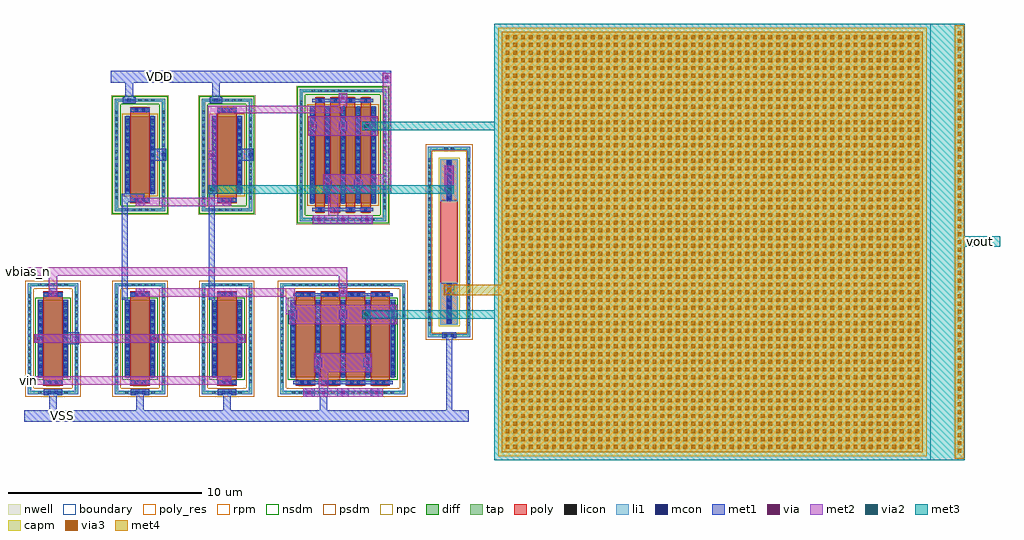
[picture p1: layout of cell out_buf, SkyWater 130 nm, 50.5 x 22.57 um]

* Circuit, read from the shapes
.subckt out_buf VDD VSS vbias_n vin vout
XM1 VSS vbias_n ob_n4_l1_0/D VSS sky130_fd_pr__nfet_01v8 w=4 l=1
XM2 ob_n4_l1_0/D vout ob_n4_l1_1/D VSS sky130_fd_pr__nfet_01v8 w=4 l=1
XM3 ob_n4_l1_0/D vin ob_n4_l1_2/D VSS sky130_fd_pr__nfet_01v8 w=4 l=1
XM4 VSS vbias_n vout VSS sky130_fd_pr__nfet_01v8 w=4 l=1 m=4
XM5 VDD ob_n4_l1_1/D ob_n4_l1_1/D VDD sky130_fd_pr__pfet_01v8 w=4 l=1
XM6 VDD ob_n4_l1_1/D ob_n4_l1_2/D VDD sky130_fd_pr__pfet_01v8 w=4 l=1
XM7 VDD ob_n4_l1_2/D vout VDD sky130_fd_pr__pfet_01v8 w=5 l=0.5 m=4
XC8 cc_1p_8/C1 vout sky130_fd_pr__cap_mim_m3_1 w=22.17 l=22.17
XR9 ob_n4_l1_2/D cc_1p_8/C1 VSS sky130_fd_pr__res_high_po w=0.9 l=4.26
.ends

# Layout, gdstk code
import gdstk
lib = gdstk.Library(unit=1e-6, precision=1e-09)
def R(c, l, rs):  # rectangles x0, y0, x1, y1
    for r in rs: c.add(gdstk.rectangle(r[:2], r[2:], *l))
def A(c, l, x, y, w, h, nx, ny, dx, dy):  # array of equal rectangles
    R(c, l, [(x+i*dx, y+j*dy, x+i*dx+w, y+j*dy+h) for i in range(nx) for j in range(ny)])
nwell = (64, 20)
diff = (65, 20)
tap = (65, 44)
poly_res = (66, 13)
poly = (66, 20)
licon = (66, 44)
li1 = (67, 20)
mcon = (67, 44)
met1 = (68, 20)
via = (68, 44)
met2 = (69, 20)
via2 = (69, 44)
met3 = (70, 20)
via3 = (70, 44)
met4 = (71, 20)
rpm = (86, 20)
capm = (89, 44)
nsdm = (93, 44)
psdm = (94, 20)
npc = (95, 20)
boundary = (235, 4)

ob_n4_l1 = lib.new_cell('ob_n4_l1')
R(ob_n4_l1, diff, [(-0.79,-2,0.79,2)])
R(ob_n4_l1, tap, [(-1.3,-2.87,1.3,-2.7), (-1.3,-2.7,-1.13,2.7), (1.13,-2.7,1.3,2.7), (-1.3,2.7,1.3,2.87)])
R(ob_n4_l1, poly, [(-0.5,-2.44,0.5,2.44)])
A(ob_n4_l1, licon, -0.765, -2.87, 0.17, 0.17, 5, 2, 0.34, 5.57)
A(ob_n4_l1, licon, -1.3, -2.295, 0.17, 0.17, 1, 14, 0, 0.34)
A(ob_n4_l1, licon, 1.13, -2.295, 0.17, 0.17, 1, 14, 0, 0.34)
A(ob_n4_l1, licon, -0.73, -1.785, 0.17, 0.17, 1, 11, 0, 0.34)
A(ob_n4_l1, licon, 0.56, -1.785, 0.17, 0.17, 1, 11, 0, 0.34)
R(ob_n4_l1, licon, [(-0.255,-2.36,-0.085,-2.19), (0.085,-2.36,0.255,-2.19), (-0.255,2.19,-0.085,2.36), (0.085,2.19,0.255,2.36)])
R(ob_n4_l1, li1, [(-1.3,-2.87,1.3,-2.7), (-1.3,-2.7,-1.13,2.7), (1.13,-2.7,1.3,2.7), (-0.5,-2.36,0.5,-2.19), (-0.73,-2.02,-0.56,2.02), (0.56,-2.02,0.73,2.02), (-0.5,2.19,0.5,2.36), (-1.3,2.7,1.3,2.87)])
A(ob_n4_l1, mcon, -0.73, -1.885, 0.17, 0.17, 1, 11, 0, 0.36)
A(ob_n4_l1, mcon, 0.56, -1.885, 0.17, 0.17, 1, 11, 0, 0.36)
R(ob_n4_l1, mcon, [(-0.265,-2.36,-0.095,-2.19), (0.095,-2.36,0.265,-2.19), (-0.265,2.19,-0.095,2.36), (0.095,2.19,0.265,2.36)])
R(ob_n4_l1, met1, [(-0.48,-2.39,0.48,-2.16), (-0.76,-2,-0.53,2), (0.53,-2,0.76,2), (-0.48,2.16,0.48,2.39)])
R(ob_n4_l1, nsdm, [(-0.915,-2.125,0.915,2.125)])
R(ob_n4_l1, psdm, [(-1.425,-2.995,1.425,-2.575), (-1.425,-2.575,-1.005,2.575), (1.005,-2.575,1.425,2.575), (-1.425,2.575,1.425,2.995)])
R(ob_n4_l1, npc, [(-0.355,-2.46,0.355,-2.09), (-0.355,2.09,0.355,2.46)])
R(ob_n4_l1, boundary, [(-1.215,-2.785,1.215,2.785)])
ob_n4_l1.add(gdstk.Label('B', (0,-2.785), layer=67, texttype=5))
ob_n4_l1.add(gdstk.Label('D', (-0.645,0), layer=67, texttype=5))
ob_n4_l1.add(gdstk.Label('S', (0.645,0), layer=67, texttype=5))
ob_n4_l1.add(gdstk.Label('G', (0,2.275), layer=67, texttype=5))

ob_n16_l1_f4 = lib.new_cell('ob_n16_l1_f4')
R(ob_n16_l1_f4, diff, [(-2.725,-2,2.725,2)])
R(ob_n16_l1_f4, tap, [(-3.235,-2.87,3.235,-2.7), (-3.235,-2.7,-3.065,2.7), (3.065,-2.7,3.235,2.7), (-3.235,2.7,3.235,2.87)])
A(ob_n16_l1_f4, poly, -2.435, -2.44, 1, 4.88, 4, 1, 1.29, 0)
A(ob_n16_l1_f4, licon, -2.635, -2.87, 0.17, 0.17, 16, 2, 0.34, 5.57)
A(ob_n16_l1_f4, licon, -3.235, -2.295, 0.17, 0.17, 1, 14, 0, 0.34)
A(ob_n16_l1_f4, licon, 3.065, -2.295, 0.17, 0.17, 1, 14, 0, 0.34)
A(ob_n16_l1_f4, licon, -2.665, -1.785, 0.17, 0.17, 5, 11, 1.29, 0.34)
R(ob_n16_l1_f4, licon, [(-2.19,-2.36,-2.02,-2.19), (-1.85,-2.36,-1.68,-2.19), (-0.9,-2.36,-0.73,-2.19), (-0.56,-2.36,-0.39,-2.19), (0.39,-2.36,0.56,-2.19), (0.73,-2.36,0.9,-2.19), (1.68,-2.36,1.85,-2.19), (2.02,-2.36,2.19,-2.19), (-2.19,2.19,-2.02,2.36), (-1.85,2.19,-1.68,2.36), (-0.9,2.19,-0.73,2.36), (-0.56,2.19,-0.39,2.36), (0.39,2.19,0.56,2.36), (0.73,2.19,0.9,2.36), (1.68,2.19,1.85,2.36), (2.02,2.19,2.19,2.36)])
A(ob_n16_l1_f4, li1, -2.665, -2.02, 0.17, 4.04, 5, 1, 1.29, 0)
R(ob_n16_l1_f4, li1, [(-3.235,-2.87,3.235,-2.7), (-3.235,-2.7,-3.065,2.7), (3.065,-2.7,3.235,2.7), (-2.58,-2.36,2.58,-2.19), (-2.58,2.19,2.58,2.36), (-3.235,2.7,3.235,2.87)])
A(ob_n16_l1_f4, mcon, -2.665, -1.885, 0.17, 0.17, 5, 11, 1.29, 0.36)
R(ob_n16_l1_f4, mcon, [(-2.2,-2.36,-2.03,-2.19), (-1.84,-2.36,-1.67,-2.19), (-0.91,-2.36,-0.74,-2.19), (-0.55,-2.36,-0.38,-2.19), (0.38,-2.36,0.55,-2.19), (0.74,-2.36,0.91,-2.19), (1.67,-2.36,1.84,-2.19), (2.03,-2.36,2.2,-2.19), (-2.2,2.19,-2.03,2.36), (-1.84,2.19,-1.67,2.36), (-0.91,2.19,-0.74,2.36), (-0.55,2.19,-0.38,2.36), (0.38,2.19,0.55,2.36), (0.74,2.19,0.91,2.36), (1.67,2.19,1.84,2.36), (2.03,2.19,2.2,2.36)])
A(ob_n16_l1_f4, met1, -2.415, -2.39, 0.96, 0.03, 4, 2, 1.29, 0.2)
A(ob_n16_l1_f4, met1, -2.695, -2, 0.23, 4, 5, 1, 1.29, 0)
A(ob_n16_l1_f4, met1, -2.415, 2.16, 0.96, 0.03, 4, 2, 1.29, 0.2)
R(ob_n16_l1_f4, met1, [(-2.58,-2.36,2.58,-2.19), (-2.58,2.19,2.58,2.36)])
R(ob_n16_l1_f4, nsdm, [(-2.85,-2.125,2.85,2.125)])
R(ob_n16_l1_f4, psdm, [(-3.36,-2.995,3.36,-2.575), (-3.36,-2.575,-2.94,2.575), (2.94,-2.575,3.36,2.575), (-3.36,2.575,3.36,2.995)])
A(ob_n16_l1_f4, npc, -2.29, -2.46, 0.71, 0.37, 4, 2, 1.29, 4.55)
R(ob_n16_l1_f4, boundary, [(-3.15,-2.785,3.15,2.785)])
ob_n16_l1_f4.add(gdstk.Label('B', (0,-2.785), layer=67, texttype=5))
ob_n16_l1_f4.add(gdstk.Label('D0', (-2.58,0), layer=67, texttype=5))
ob_n16_l1_f4.add(gdstk.Label('G', (1.935,2.275), layer=67, texttype=5))
ob_n16_l1_f4.add(gdstk.Label('G', (0.645,2.275), layer=67, texttype=5))
ob_n16_l1_f4.add(gdstk.Label('G', (-0.645,2.275), layer=67, texttype=5))
ob_n16_l1_f4.add(gdstk.Label('G', (-1.935,2.275), layer=67, texttype=5))
ob_n16_l1_f4.add(gdstk.Label('S1', (-1.29,0), layer=67, texttype=5))
ob_n16_l1_f4.add(gdstk.Label('D2', (0,0), layer=67, texttype=5))
ob_n16_l1_f4.add(gdstk.Label('S3', (1.29,0), layer=67, texttype=5))

ob_xm8 = lib.new_cell('ob_xm8')
A(ob_xm8, li1, -1.975, -2.87, 0.45, 0.17, 3, 1, 1.75, 0)
A(ob_xm8, mcon, -1.835, -2.87, 0.17, 0.17, 3, 1, 1.75, 0)
A(ob_xm8, met1, -2.05, -3.01, 0.6, 0.45, 3, 1, 1.75, 0)
A(ob_xm8, met1, -2.805, 1.025, 0.45, 0.45, 3, 1, 2.58, 0)
R(ob_xm8, met1, [(-1.515,-1.475,-1.065,-1.025), (1.065,-1.475,1.515,-1.025), (-0.225,2.16,0.225,2.65)])
A(ob_xm8, via, -1.825, -2.86, 0.15, 0.15, 3, 1, 1.75, 0)
A(ob_xm8, via, -2.655, 1.175, 0.15, 0.15, 3, 1, 2.58, 0)
R(ob_xm8, via, [(-1.365,-1.325,-1.215,-1.175), (1.215,-1.325,1.365,-1.175), (-0.075,2.33,0.075,2.48)])
R(ob_xm8, met2, [(-2.05,-3.01,2.05,-2.56), (-1.515,-1.75,1.515,-0.75), (-2.805,0.75,2.805,1.75), (-0.225,2.155,0.225,2.655)])
ob_xm8.add(gdstk.Reference(ob_n16_l1_f4, (0,0)))
ob_xm8.add(gdstk.Label('D', (-2.58,1.25), layer=69, texttype=5))
ob_xm8.add(gdstk.Label('S', (-1.29,-1.25), layer=69, texttype=5))
ob_xm8.add(gdstk.Label('G', (0,2.405), layer=69, texttype=5))
ob_xm8.add(gdstk.Label('B', (-1.75,-2.785), layer=69, texttype=5))

ob_p4_l1 = lib.new_cell('ob_p4_l1')
R(ob_p4_l1, nwell, [(-1.48,-3.095,1.48,3.095)])
R(ob_p4_l1, diff, [(-0.79,-2,0.79,2)])
R(ob_p4_l1, tap, [(-1.3,-2.915,1.3,-2.745), (-1.3,-2.745,-1.13,2.745), (1.13,-2.745,1.3,2.745), (-1.3,2.745,1.3,2.915)])
R(ob_p4_l1, poly, [(-0.5,-2.485,0.5,2.485)])
A(ob_p4_l1, licon, -0.765, -2.915, 0.17, 0.17, 5, 2, 0.34, 5.66)
A(ob_p4_l1, licon, -1.3, -2.295, 0.17, 0.17, 1, 14, 0, 0.34)
A(ob_p4_l1, licon, 1.13, -2.295, 0.17, 0.17, 1, 14, 0, 0.34)
A(ob_p4_l1, licon, -0.73, -1.785, 0.17, 0.17, 1, 11, 0, 0.34)
A(ob_p4_l1, licon, 0.56, -1.785, 0.17, 0.17, 1, 11, 0, 0.34)
R(ob_p4_l1, licon, [(-0.255,-2.405,-0.085,-2.235), (0.085,-2.405,0.255,-2.235), (-0.255,2.235,-0.085,2.405), (0.085,2.235,0.255,2.405)])
R(ob_p4_l1, li1, [(-1.3,-2.915,1.3,-2.745), (-1.3,-2.745,-1.13,2.745), (1.13,-2.745,1.3,2.745), (-0.5,-2.405,0.5,-2.235), (-0.73,-2.02,-0.56,2.02), (0.56,-2.02,0.73,2.02), (-0.5,2.235,0.5,2.405), (-1.3,2.745,1.3,2.915)])
A(ob_p4_l1, mcon, -0.73, -1.885, 0.17, 0.17, 1, 11, 0, 0.36)
A(ob_p4_l1, mcon, 0.56, -1.885, 0.17, 0.17, 1, 11, 0, 0.36)
R(ob_p4_l1, mcon, [(-0.265,-2.405,-0.095,-2.235), (0.095,-2.405,0.265,-2.235), (-0.265,2.235,-0.095,2.405), (0.095,2.235,0.265,2.405)])
R(ob_p4_l1, met1, [(-0.48,-2.435,0.48,-2.205), (-0.76,-2,-0.53,2), (0.53,-2,0.76,2), (-0.48,2.205,0.48,2.435)])
R(ob_p4_l1, nsdm, [(-1.425,-3.04,1.425,-2.62), (-1.425,-2.62,-1.005,2.62), (1.005,-2.62,1.425,2.62), (-1.425,2.62,1.425,3.04)])
R(ob_p4_l1, psdm, [(-0.915,-2.125,0.915,2.125)])
R(ob_p4_l1, npc, [(-0.355,-2.505,0.355,-2.135), (-0.355,2.135,0.355,2.505)])
R(ob_p4_l1, boundary, [(-1.215,-2.83,1.215,2.83)])
ob_p4_l1.add(gdstk.Label('B', (0,-2.83), layer=67, texttype=5))
ob_p4_l1.add(gdstk.Label('D', (-0.645,0), layer=67, texttype=5))
ob_p4_l1.add(gdstk.Label('S', (0.645,0), layer=67, texttype=5))
ob_p4_l1.add(gdstk.Label('G', (0,2.32), layer=67, texttype=5))

ob_p20_l0p5_f4 = lib.new_cell('ob_p20_l0p5_f4')
R(ob_p20_l0p5_f4, nwell, [(-2.415,-3.595,2.415,3.595)])
R(ob_p20_l0p5_f4, diff, [(-1.725,-2.5,1.725,2.5)])
R(ob_p20_l0p5_f4, tap, [(-2.235,-3.415,2.235,-3.245), (-2.235,-3.245,-2.065,3.245), (2.065,-3.245,2.235,3.245), (-2.235,3.245,2.235,3.415)])
A(ob_p20_l0p5_f4, poly, -1.435, -2.985, 0.5, 5.97, 4, 1, 0.79, 0)
A(ob_p20_l0p5_f4, licon, -1.615, -3.415, 0.17, 0.17, 10, 2, 0.34, 6.66)
A(ob_p20_l0p5_f4, licon, -1.27, -2.905, 0.17, 0.17, 4, 2, 0.79, 5.64)
A(ob_p20_l0p5_f4, licon, -2.235, -2.805, 0.17, 0.17, 1, 17, 0, 0.34)
A(ob_p20_l0p5_f4, licon, 2.065, -2.805, 0.17, 0.17, 1, 17, 0, 0.34)
A(ob_p20_l0p5_f4, licon, -1.665, -2.295, 0.17, 0.17, 5, 14, 0.79, 0.34)
A(ob_p20_l0p5_f4, li1, -1.665, -2.52, 0.17, 5.04, 5, 1, 0.79, 0)
R(ob_p20_l0p5_f4, li1, [(-2.235,-3.415,2.235,-3.245), (-2.235,-3.245,-2.065,3.245), (2.065,-3.245,2.235,3.245), (-1.58,-2.905,1.58,-2.735), (-1.58,2.735,1.58,2.905), (-2.235,3.245,2.235,3.415)])
A(ob_p20_l0p5_f4, mcon, -1.27, -2.905, 0.17, 0.17, 4, 2, 0.79, 5.64)
A(ob_p20_l0p5_f4, mcon, -1.665, -2.425, 0.17, 0.17, 5, 14, 0.79, 0.36)
A(ob_p20_l0p5_f4, met1, -1.415, -2.935, 0.46, 0.03, 4, 2, 0.79, 0.2)
A(ob_p20_l0p5_f4, met1, -1.695, -2.5, 0.23, 5, 5, 1, 0.79, 0)
A(ob_p20_l0p5_f4, met1, -1.415, 2.705, 0.46, 0.03, 4, 2, 0.79, 0.2)
R(ob_p20_l0p5_f4, met1, [(-1.58,-2.905,1.58,-2.735), (-1.58,2.735,1.58,2.905)])
R(ob_p20_l0p5_f4, nsdm, [(-2.36,-3.54,2.36,-3.12), (-2.36,-3.12,-1.94,3.12), (1.94,-3.12,2.36,3.12), (-2.36,3.12,2.36,3.54)])
R(ob_p20_l0p5_f4, psdm, [(-1.85,-2.625,1.85,2.625)])
A(ob_p20_l0p5_f4, npc, -1.37, -3.005, 0.37, 0.37, 4, 2, 0.79, 5.64)
R(ob_p20_l0p5_f4, boundary, [(-2.15,-3.33,2.15,3.33)])
ob_p20_l0p5_f4.add(gdstk.Label('B', (0,-3.33), layer=67, texttype=5))
ob_p20_l0p5_f4.add(gdstk.Label('D0', (-1.58,0), layer=67, texttype=5))
ob_p20_l0p5_f4.add(gdstk.Label('G', (1.185,2.82), layer=67, texttype=5))
ob_p20_l0p5_f4.add(gdstk.Label('G', (0.395,2.82), layer=67, texttype=5))
ob_p20_l0p5_f4.add(gdstk.Label('G', (-0.395,2.82), layer=67, texttype=5))
ob_p20_l0p5_f4.add(gdstk.Label('G', (-1.185,2.82), layer=67, texttype=5))
ob_p20_l0p5_f4.add(gdstk.Label('S1', (-0.79,0), layer=67, texttype=5))
ob_p20_l0p5_f4.add(gdstk.Label('D2', (0,0), layer=67, texttype=5))
ob_p20_l0p5_f4.add(gdstk.Label('S3', (0.79,0), layer=67, texttype=5))

ob_xm7 = lib.new_cell('ob_xm7')
A(ob_xm7, li1, -1.475, -3.415, 0.45, 0.17, 3, 1, 1.25, 0)
A(ob_xm7, mcon, -1.335, -3.415, 0.17, 0.17, 3, 1, 1.25, 0)
A(ob_xm7, met1, -1.55, -3.555, 0.6, 0.45, 3, 1, 1.25, 0)
A(ob_xm7, met1, -1.805, 1.275, 0.45, 0.45, 3, 1, 1.58, 0)
R(ob_xm7, met1, [(-1.015,-1.725,-0.565,-1.275), (0.565,-1.725,1.015,-1.275), (-0.225,2.705,0.225,3.2)])
A(ob_xm7, via, -1.325, -3.405, 0.15, 0.15, 3, 1, 1.25, 0)
A(ob_xm7, via, -1.655, 1.425, 0.15, 0.15, 3, 1, 1.58, 0)
R(ob_xm7, via, [(-0.865,-1.575,-0.715,-1.425), (0.715,-1.575,0.865,-1.425), (-0.075,2.875,0.075,3.025)])
R(ob_xm7, met2, [(-1.55,-3.555,1.55,-3.105), (-1.015,-2,1.015,-1), (-1.805,1,1.805,2), (-0.225,2.7,0.225,3.2)])
ob_xm7.add(gdstk.Reference(ob_p20_l0p5_f4, (0,0)))
ob_xm7.add(gdstk.Label('D', (-1.58,1.5), layer=69, texttype=5))
ob_xm7.add(gdstk.Label('S', (-0.79,-1.5), layer=69, texttype=5))
ob_xm7.add(gdstk.Label('G', (0,2.95), layer=69, texttype=5))
ob_xm7.add(gdstk.Label('B', (-1.25,-3.33), layer=69, texttype=5))

rz_4k = lib.new_cell('rz_4k')
R(rz_4k, tap, [(-1.1,-4.92,1.1,-4.75), (-1.1,-4.75,-0.93,4.75), (0.93,-4.75,1.1,4.75), (-1.1,4.75,1.1,4.92)])
R(rz_4k, poly_res, [(-0.45,-2.19,0.45,2.19)])
R(rz_4k, poly, [(-0.45,-4.27,0.45,4.27)])
A(rz_4k, licon, -1.1, -4.335, 0.17, 0.17, 1, 26, 0, 0.34)
A(rz_4k, licon, 0.93, -4.335, 0.17, 0.17, 1, 26, 0, 0.34)
R(rz_4k, licon, [(-0.255,-4.92,-0.085,-4.75), (0.085,-4.92,0.255,-4.75), (-0.095,-4.19,0.095,-2.19), (-0.095,2.19,0.095,4.19), (-0.255,4.75,-0.085,4.92), (0.085,4.75,0.255,4.92)])
R(rz_4k, li1, [(-1.1,-4.92,1.1,-4.75), (-1.1,-4.75,-0.93,4.75), (0.93,-4.75,1.1,4.75), (-0.45,-4.27,0.45,-2.11), (-0.45,2.11,0.45,4.27), (-1.1,4.75,1.1,4.92)])
A(rz_4k, mcon, -0.085, -4.175, 0.17, 0.17, 1, 6, 0, 0.36)
A(rz_4k, mcon, -0.085, 2.2, 0.17, 0.17, 1, 6, 0, 0.36)
R(rz_4k, met1, [(-0.125,-4.24,0.125,-2.135), (-0.125,2.135,0.125,4.24)])
R(rz_4k, rpm, [(-0.9,-4.72,0.9,4.72)])
R(rz_4k, psdm, [(-1.225,-5.045,1.225,5.045)])
R(rz_4k, npc, [(-0.545,-4.365,0.545,4.365)])
R(rz_4k, boundary, [(-1.015,-4.835,1.015,4.835)])
rz_4k.add(gdstk.Label('B', (0,-4.835), layer=67, texttype=5))
rz_4k.add(gdstk.Label('R1', (0,4.095), layer=67, texttype=5))
rz_4k.add(gdstk.Label('R2', (0,-4.095), layer=67, texttype=5))

cc_1p = lib.new_cell('cc_1p')
R(cc_1p, met3, [(-12.165,-11.285,12.165,11.285)])
A(cc_1p, via3, 11.805, -10.9, 0.2, 0.2, 1, 55, 0, 0.4)
A(cc_1p, via3, -11.58, -10.7, 0.2, 0.2, 54, 54, 0.4, 0.4)
R(cc_1p, met4, [(11.665,-11.225,12.145,11.225), (-11.77,-10.89,10.01,10.89)])
R(cc_1p, capm, [(-11.965,-11.085,10.205,11.085)])
R(cc_1p, boundary, [(-12.165,-11.285,10.405,11.285)])
cc_1p.add(gdstk.Label('C2', (11.905,0), layer=71, texttype=5))
cc_1p.add(gdstk.Label('C1', (-0.88,0), layer=71, texttype=5))

out_buf = lib.new_cell('out_buf')
A(out_buf, li1, 4.1, 4.63, 0.8, 0.17, 3, 1, 4.5, 0)
R(out_buf, li1, [(5.63,7.285,5.8,7.735), (24.7,7.58,25.3,7.75), (10.13,16.785,10.3,17.235), (14.63,16.785,14.8,17.235), (8.18,19.745,8.7,19.915), (12.68,19.745,13.2,19.915)])
R(out_buf, mcon, [(4.235,4.63,4.405,4.8), (4.595,4.63,4.765,4.8), (8.735,4.63,8.905,4.8), (9.095,4.63,9.265,4.8), (13.235,4.63,13.405,4.8), (13.595,4.63,13.765,4.8), (5.63,7.425,5.8,7.595), (24.735,7.58,24.905,7.75), (25.095,7.58,25.265,7.75), (10.13,16.925,10.3,17.095), (14.63,16.925,14.8,17.095), (8.355,19.745,8.525,19.915), (12.855,19.745,13.025,19.915)])
A(out_buf, met1, 4.3, 3.8, 0.4, 0.76, 3, 1, 4.5, 0)
A(out_buf, met1, 4.03, 4.56, 0.94, 0.31, 3, 1, 4.5, 0)
R(out_buf, met1, [(3,3.2,26,3.8), (18.3,3.8,18.7,4.49), (24.85,3.8,25.15,7.51), (18.275,4.49,18.725,4.94), (13.275,5.11,13.725,5.56), (5.03,7.2,5.87,7.82), (3.52,7.275,3.97,7.725), (9.53,7.275,9.98,7.725), (14.03,7.275,14.48,7.725), (24.63,7.51,25.37,7.82), (8.06,9.5,8.38,14.565), (12.56,9.5,12.88,15), (4.275,9.66,4.725,10.11), (8.775,9.66,9.225,10.11), (24.775,9.8,25.225,10.25), (8.775,14.345,9.225,14.565), (13.275,14.345,13.725,14.795), (8.06,14.565,9.225,15), (24.775,16,25.225,16.45), (9.53,16.7,10.37,17.32), (14.03,16.7,14.87,17.32), (12.52,16.775,12.97,17.225), (8.11,19.675,8.77,19.985), (12.61,19.675,13.27,19.985), (8.24,19.985,8.64,20.75), (12.74,19.985,13.14,20.75), (7.5,20.75,22,21.35)])
R(out_buf, via, [(18.425,4.64,18.575,4.79), (13.425,5.26,13.575,5.41), (3.67,7.425,3.82,7.575), (9.68,7.425,9.83,7.575), (14.18,7.425,14.33,7.575), (4.425,9.81,4.575,9.96), (8.925,9.81,9.075,9.96), (24.925,9.95,25.075,10.1), (8.925,14.495,9.075,14.645), (13.425,14.495,13.575,14.645), (24.925,16.15,25.075,16.3), (12.67,16.925,12.82,17.075), (21.7,20.95,21.85,21.1)])
R(out_buf, met2, [(18.35,4.565,18.65,4.865), (18.25,4.94,18.75,5.75), (3,5.11,13.725,5.56), (3.52,7.275,14.48,7.725), (20.575,8.61,20.855,8.89), (16.55,8.75,17,9.66), (4.275,9.66,4.725,10.75), (8.775,9.66,17,10.11), (24.775,9.8,25.225,10.25), (19.275,10.155,19.725,10.75), (3,10.75,19.725,11.2), (18.75,13.895,19.25,15), (8.775,14.345,13.725,14.795), (12.52,15,12.97,19.15), (20.515,15,22,16), (24.775,15,25.225,16.45), (21.55,16,22,21.25), (20.575,18.36,20.855,18.64), (12.52,19.15,19.5,19.55), (19.275,19.55,19.725,19.7)])
R(out_buf, via2, [(20.615,8.65,20.815,8.85), (24.9,9.925,25.1,10.125), (12.645,15.115,12.845,15.315), (24.9,15.115,25.1,15.315), (20.615,18.4,20.815,18.6)])
R(out_buf, met3, [(20.5,8.535,27.5,8.965), (24.725,9.75,25.275,10.3), (51.665,12.25,53.5,12.8), (12.53,15,25.225,15.43), (20.5,18.285,27.5,18.715)])
R(out_buf, via3, [(24.9,9.925,25.1,10.125)])
R(out_buf, met4, [(24.725,9.75,28,10.3)])
out_buf.add(gdstk.Reference(ob_n4_l1, (4.5,7.5)))
out_buf.add(gdstk.Reference(ob_n4_l1, (9,7.5)))
out_buf.add(gdstk.Reference(ob_n4_l1, (13.5,7.5)))
out_buf.add(gdstk.Reference(ob_xm8, (19.5,7.5)))
out_buf.add(gdstk.Reference(ob_p4_l1, (9,17)))
out_buf.add(gdstk.Reference(ob_p4_l1, (13.5,17)))
out_buf.add(gdstk.Reference(ob_xm7, (19.5,17)))
out_buf.add(gdstk.Reference(rz_4k, (25,12.5)))
out_buf.add(gdstk.Reference(cc_1p, (39.5,12.5)))
out_buf.add(gdstk.Label('vin', (3.25,5.335), layer=69, texttype=5))
out_buf.add(gdstk.Label('vout', (52.5,12.525), layer=70, texttype=5))
out_buf.add(gdstk.Label('vbias_n', (3.25,10.975), layer=69, texttype=5))
out_buf.add(gdstk.Label('VDD', (10,21.05), layer=68, texttype=5))
out_buf.add(gdstk.Label('VSS', (5,3.5), layer=68, texttype=5))

lib.write_gds('out_buf.gds')
